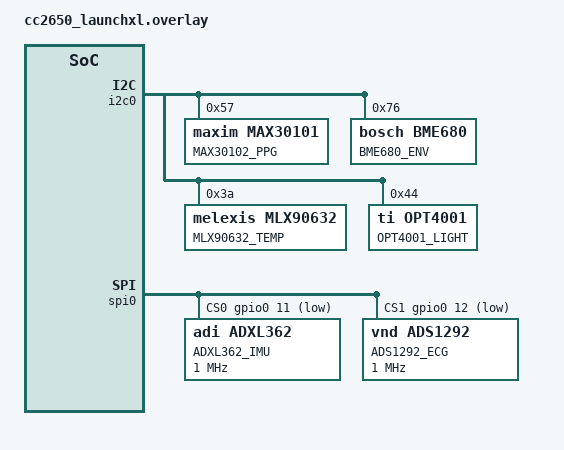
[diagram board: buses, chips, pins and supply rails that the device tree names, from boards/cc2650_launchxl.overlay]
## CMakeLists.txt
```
cmake_minimum_required(VERSION 3.20.0)

# Include Zephyr
find_package(Zephyr REQUIRED HINTS $ENV{ZEPHYR_BASE})
project(biomedical_sensor_node)

# Add source files
target_sources(app PRIVATE 
    src/main.c
    src/sensor_service.c
    src/processing.c
    src/state_machine.c
    src/telemetry.c
    src/watchdog.c
)

# Include directories
target_include_directories(app PRIVATE include)
```

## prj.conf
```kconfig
# System and Kernel
CONFIG_MULTITHREADING=y
CONFIG_FPU=y

# Console and Logging
CONFIG_CONSOLE=y
CONFIG_UART_CONSOLE=y
CONFIG_LOG=y
CONFIG_LOG_BACKEND_UART=y
CONFIG_UART_INTERRUPT_DRIVEN=y
CONFIG_LOG_MODE_DEFERRED=y
CONFIG_LOG_BUFFER_SIZE=2048
CONFIG_LOG_DEFAULT_LEVEL=3

# Standard Library and Randomness
CONFIG_NEWLIB_LIBC=y
CONFIG_ENTROPY_GENERATOR=y
CONFIG_TEST_RANDOM_GENERATOR=y

# Sensor Subsystem
CONFIG_SENSOR=y
CONFIG_I2C=y
CONFIG_SPI=y

# Specific Sensor Drivers
CONFIG_MAX30101=y
CONFIG_ADXL362=y
# ADS1292 driver usually requires custom implementation, but we enable SPI for it
# BME680 and VCNL4040 would go here if active

# CBPRINTF (Floating point printf for sensor readings)
CONFIG_CBPRINTF_FP_SUPPORT=y

# Message Queue configs (if needed for tuning)
CONFIG_HEAP_MEM_POOL_SIZE=4096
CONFIG_MAIN_STACK_SIZE=4096
```

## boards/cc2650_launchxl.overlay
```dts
/* TI CC2650 LaunchPad Devicetree Overlay */

&i2c0 {
    status = "okay";
    
    max30102: max30102@57 {
        compatible = "maxim,max30101";
        reg = <0x57>;
        label = "MAX30102_PPG";
        acq-mode = "spo2";
    };

    /* Additional BME Shield Sensors (Node Stubs) */
    bme680: bme680@76 {
        compatible = "bosch,bme680";
        reg = <0x76>;
        label = "BME680_ENV";
    };

    mlx90632: mlx90632@3a {
        compatible = "melexis,mlx90632";
        reg = <0x3a>;
        label = "MLX90632_TEMP";
    };

    opt4001: opt4001@44 {
        compatible = "ti,opt4001";
        reg = <0x44>;
        label = "OPT4001_LIGHT";
    };
};

&spi0 {
    status = "okay";
    cs-gpios = <&gpio0 11 GPIO_ACTIVE_LOW>, <&gpio0 12 GPIO_ACTIVE_LOW>;

    adxl362: adxl362@0 {
        compatible = "adi,adxl362";
        reg = <0>;
        spi-max-frequency = <1000000>;
        label = "ADXL362_IMU";
    };

    ads1292: ads1292@1 {
        compatible = "vnd,ads1292"; /* Generic vendor compatible */
        reg = <1>;
        spi-max-frequency = <1000000>;
        label = "ADS1292_ECG";
    };
};
```

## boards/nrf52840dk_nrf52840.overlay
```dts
/* Nordic nRF52840 Devicetree Overlay */

&i2c0 {
    status = "okay";
    clock-frequency = <I2C_BITRATE_FAST>;

    max30102: max30102@57 {
        status = "disabled";
        compatible = "maxim,max30101";
        reg = <0x57>;
        label = "MAX30102_PPG";
        acq-mode = "spo2";
    };

    /* Additional BME Shield Sensors (Node Stubs) */
    bme680: bme680@76 {
        status = "disabled";
        compatible = "bosch,bme680";
        reg = <0x76>;
        label = "BME680_ENV";
    };

    mlx90632: mlx90632@3a {
        status = "disabled";
        compatible = "melexis,mlx90632";
        reg = <0x3a>;
        label = "MLX90632_TEMP";
    };

    opt4001: opt4001@44 {
        status = "disabled";
        compatible = "ti,opt4001"; /* Requires custom driver or generic I2C access if not in Zephyr */
        reg = <0x44>;
        label = "OPT4001_LIGHT";
    };
};

&spi1 {
    status = "okay";
    cs-gpios = <&gpio0 17 GPIO_ACTIVE_LOW>, <&gpio0 18 GPIO_ACTIVE_LOW>;

    adxl362: adxl362@0 {
        status = "disabled";
        compatible = "adi,adxl362";
        reg = <0>;
        spi-max-frequency = <1000000>;
        label = "ADXL362_IMU";
    };

    ads1292: ads1292@1 {
        status = "disabled";
        compatible = "vnd,ads1292"; /* Generic vendor compatible for emulation */
        reg = <1>;
        spi-max-frequency = <1000000>;
        label = "ADS1292_ECG";
    };
};

&uart1 {
    status = "okay";
    current-speed = <115200>;
};
```

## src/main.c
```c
#include <zephyr/kernel.h>
#include <zephyr/logging/log.h>
#include "state_machine.h"
#include "sensor_service.h"
#include "processing.h"
#include "telemetry.h"
#include "watchdog.h"

LOG_MODULE_REGISTER(main, LOG_LEVEL_INF);

/* Thread stack sizes and priorities */
#define SENSOR_STACK_SIZE 1024
#define PROCESSING_STACK_SIZE 1024
#define STATE_MACHINE_STACK_SIZE 1024
#define TELEMETRY_STACK_SIZE 1024
#define WATCHDOG_STACK_SIZE 512

#define SENSOR_PRIORITY 7
#define PROCESSING_PRIORITY 5
#define STATE_MACHINE_PRIORITY 3
#define TELEMETRY_PRIORITY 9
#define WATCHDOG_PRIORITY 1

/* Thread definitions */
K_THREAD_DEFINE(sensor_tid, SENSOR_STACK_SIZE,
                sensor_thread_entry, NULL, NULL, NULL,
                SENSOR_PRIORITY, 0, 0);

K_THREAD_DEFINE(processing_tid, PROCESSING_STACK_SIZE,
                processing_thread_entry, NULL, NULL, NULL,
                PROCESSING_PRIORITY, 0, 0);

K_THREAD_DEFINE(fsm_tid, STATE_MACHINE_STACK_SIZE,
                state_machine_thread_entry, NULL, NULL, NULL,
                STATE_MACHINE_PRIORITY, 0, 0);

K_THREAD_DEFINE(telemetry_tid, TELEMETRY_STACK_SIZE,
                telemetry_thread_entry, NULL, NULL, NULL,
                TELEMETRY_PRIORITY, 0, 0);

K_THREAD_DEFINE(watchdog_tid, WATCHDOG_STACK_SIZE,
                watchdog_thread_entry, NULL, NULL, NULL,
                WATCHDOG_PRIORITY, 0, 0);

int main(void)
{
    LOG_INF("Starting Virtual Biomedical Sensor-Node...");
    LOG_INF("Board: %s", CONFIG_BOARD);
    
    return 0;
}
```

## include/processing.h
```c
#ifndef PROCESSING_H
#define PROCESSING_H

#include <stdint.h>
#include <stdbool.h>

typedef enum {
    EVENT_NONE,
    EVENT_NORMAL,
    EVENT_TACHYCARDIA_WARNING,
    EVENT_TACHYCARDIA_ALARM,
    EVENT_EXERCISE_DETECTED,
    EVENT_SENSOR_DISCONNECT
} fusion_event_t;

void processing_thread_entry(void *p1, void *p2, void *p3);

#endif
```

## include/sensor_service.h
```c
#ifndef SENSOR_SERVICE_H
#define SENSOR_SERVICE_H

#include <stdint.h>
#include <zephyr/kernel.h>

typedef struct {
    uint32_t timestamp;
    int32_t ppg_red;
    int32_t ppg_ir;
    int16_t accel_x;
    int16_t accel_y;
    int16_t accel_z;
    int32_t temp_c;
    int32_t humidity;
    int32_t pressure;
    int32_t light_lux;
    bool is_valid;
} sensor_sample_t;

/* Global access to latest sample for telemetry */
extern sensor_sample_t latest_sample;

/* Message queue for passing sensor samples to processing thread */
extern struct k_msgq sensor_msgq;

void sensor_thread_entry(void *p1, void *p2, void *p3);

#endif
```

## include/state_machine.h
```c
#ifndef STATE_MACHINE_H
#define STATE_MACHINE_H

#include <zephyr/kernel.h>

typedef enum {
    STATE_INIT,
    STATE_NORMAL,
    STATE_WARNING,
    STATE_ALARM,
    STATE_SENSOR_FAULT,
    STATE_RECOVERY
} system_state_t;

extern struct k_msgq event_msgq;
system_state_t get_current_system_state(void);
const char* state_to_string(system_state_t state);

void state_machine_thread_entry(void *p1, void *p2, void *p3);

#endif
```

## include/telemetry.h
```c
#ifndef TELEMETRY_H
#define TELEMETRY_H

void telemetry_thread_entry(void *p1, void *p2, void *p3);

#endif
```

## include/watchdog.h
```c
#ifndef WATCHDOG_H
#define WATCHDOG_H

void watchdog_feed_sensor(void);
void watchdog_thread_entry(void *p1, void *p2, void *p3);

#endif
```

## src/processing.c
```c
#include <zephyr/kernel.h>
#include <zephyr/logging/log.h>
#include <stdlib.h>
#include <math.h>
#include "processing.h"
#include "sensor_service.h"
#include "state_machine.h"

LOG_MODULE_REGISTER(processing, LOG_LEVEL_INF);

/* External event queue defined in state_machine.c */
extern struct k_msgq event_msgq;

/* Sensor Fusion thresholds */
#define HR_WARNING_THRESHOLD  120 // BPM
#define HR_ALARM_THRESHOLD    150 // BPM
#define MOTION_EXERCISE_LIMIT 250 // g-force magnitude scaled

void processing_thread_entry(void *p1, void *p2, void *p3)
{
    sensor_sample_t sample;
    fusion_event_t event;

    LOG_INF("Processing & Sensor Fusion thread started.");

    while (1) {
        if (k_msgq_get(&sensor_msgq, &sample, K_FOREVER) == 0) {
            if (!sample.is_valid) {
                event = EVENT_SENSOR_DISCONNECT;
            } else {
                /* Calculate magnitude of 3-axis motion acceleration */
                int32_t motion_mag = (int32_t)sqrt((double)(sample.accel_x * sample.accel_x +
                                                    sample.accel_y * sample.accel_y +
                                                    sample.accel_z * sample.accel_z));

                /* Simulate Heart Rate estimation from PPG Red channel (for demo windowing) */
                int32_t estimated_hr = sample.ppg_red / 100; // Scaled mock HR

                /* Sensor Fusion Decision Matrix */
                if (estimated_hr >= HR_ALARM_THRESHOLD) {
                    if (motion_mag > MOTION_EXERCISE_LIMIT) {
                        /* High HR + High Motion = Patient is exercising (Normal context) */
                        event = EVENT_EXERCISE_DETECTED;
                    } else {
                        /* High HR + Low Motion = Medical anomaly (Tachycardia Alarm) */
                        event = EVENT_TACHYCARDIA_ALARM;
                    }
                } else if (estimated_hr >= HR_WARNING_THRESHOLD) {
                    event = EVENT_TACHYCARDIA_WARNING;
                } else {
                    event = EVENT_NORMAL;
                }
            }

            /* Push fusion event to State Machine queue */
            k_msgq_put(&event_msgq, &event, K_NO_WAIT);
        }
    }
}
```

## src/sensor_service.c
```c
#include <zephyr/kernel.h>
#include <zephyr/logging/log.h>
#include <zephyr/drivers/sensor.h>
#include "sensor_service.h"
#include "watchdog.h"

LOG_MODULE_REGISTER(sensor_svc, LOG_LEVEL_INF);

/* Define message queue: capacity of 10 samples */
K_MSGQ_DEFINE(sensor_msgq, sizeof(sensor_sample_t), 10, 4);

/* Global copy for telemetry */
sensor_sample_t latest_sample;

#include <zephyr/random/random.h>
#include <zephyr/drivers/uart.h>
#include <stdlib.h>
#include <string.h>

/* Global variables that can be modified by the UART Input Simulator */
static int32_t sim_bpm = 70;
static int32_t sim_temp_c = 365;
static int32_t sim_humidity = 45;
static int32_t sim_pressure = 1013;
static int32_t sim_light_lux = 300;
static int32_t sim_accel_z = 981;

#define RX_BUF_SIZE 128
static char rx_buf[RX_BUF_SIZE];
static int rx_buf_pos = 0;

static void uart_cb(const struct device *dev, void *user_data)
{
    uart_irq_update(dev);
    
    if (uart_irq_rx_ready(dev)) {
        uint8_t c;
        while (uart_fifo_read(dev, &c, 1) == 1) {
            if (c == '\n' || c == '\r') {
                rx_buf[rx_buf_pos] = '\0';
                if (rx_buf_pos > 0) {
                    if (strncmp(rx_buf, "BPM:", 4) == 0) {
                        sim_bpm = atoi(rx_buf + 4);
                    } else if (strncmp(rx_buf, "TEMP:", 5) == 0) {
                        sim_temp_c = atoi(rx_buf + 5);
                    } else if (strncmp(rx_buf, "HUM:", 4) == 0) {
                        sim_humidity = atoi(rx_buf + 4);
                    } else if (strncmp(rx_buf, "PRES:", 5) == 0) {
                        sim_pressure = atoi(rx_buf + 5);
                    } else if (strncmp(rx_buf, "LGT:", 4) == 0) {
                        sim_light_lux = atoi(rx_buf + 4);
                    } else if (strncmp(rx_buf, "ACCZ:", 5) == 0) {
                        sim_accel_z = atoi(rx_buf + 5);
                    }
                }
                rx_buf_pos = 0;
            } else if (rx_buf_pos < RX_BUF_SIZE - 1) {
                rx_buf[rx_buf_pos++] = (char)c;
            }
        }
    }
}

void sensor_thread_entry(void *p1, void *p2, void *p3)
{
    LOG_INF("Starting mocked sensor sampling with Input Simulator support...");

    const struct device *uart1_dev = DEVICE_DT_GET(DT_NODELABEL(uart1));
    if (device_is_ready(uart1_dev)) {
        uart_irq_callback_set(uart1_dev, uart_cb);
        uart_irq_rx_enable(uart1_dev);
        LOG_INF("Input Simulator active on uart1");
    }

    sensor_sample_t sample;
    
    while (1) {
        sample.timestamp = k_uptime_get_32();
        sample.is_valid = true;

        /* Apply random jitter (noise) to the simulated base values to make it look realistic */
        int noise_bpm = (sys_rand32_get() % 5) - 2;
        int noise_temp = (sys_rand32_get() % 5) - 2;
        int noise_accel = (sys_rand32_get() % 5) - 2;
        int noise_light = (sys_rand32_get() % 11) - 5;
        
        sample.ppg_red = (sim_bpm + noise_bpm) * 100; 
        sample.accel_x = 10;
        sample.accel_y = 10;
        sample.accel_z = sim_accel_z + noise_accel;
        
        sample.temp_c = sim_temp_c + noise_temp;
        sample.humidity = sim_humidity;
        sample.pressure = sim_pressure;
        sample.light_lux = sim_light_lux + noise_light;

        latest_sample = sample;

        /* Feed the watchdog timer */
        watchdog_feed_sensor();

        /* Push sample to processing message queue */
        while (k_msgq_put(&sensor_msgq, &sample, K_NO_WAIT) != 0) {
            k_msgq_purge(&sensor_msgq);
        }

        k_msleep(100); // 100ms sampling rate (10Hz)
    }
}
```

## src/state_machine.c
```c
#include <zephyr/kernel.h>
#include <zephyr/logging/log.h>
#include "state_machine.h"
#include "processing.h"

LOG_MODULE_REGISTER(fsm, LOG_LEVEL_INF);

/* Message queue for incoming fusion events */
K_MSGQ_DEFINE(event_msgq, sizeof(fusion_event_t), 10, 4);

static system_state_t current_state = STATE_INIT;
static int recovery_counter = 0;
#define RECOVERY_HYSTERESIS_TICKS 5 // Must remain stable for 5 ticks before returning to NORMAL

system_state_t get_current_system_state(void)
{
    return current_state;
}

const char* state_to_string(system_state_t state)
{
    switch (state) {
        case STATE_INIT:          return "INIT";
        case STATE_NORMAL:        return "NORMAL";
        case STATE_WARNING:       return "WARNING";
        case STATE_ALARM:         return "ALARM";
        case STATE_SENSOR_FAULT:  return "SENSOR_FAULT";
        case STATE_RECOVERY:       return "RECOVERY";
        default:                  return "UNKNOWN";
    }
}

void state_machine_thread_entry(void *p1, void *p2, void *p3)
{
    fusion_event_t event;

    LOG_INF("State Machine FSM Thread Started.");
    current_state = STATE_NORMAL;
    LOG_INF("[FSM State Change] -> NORMAL");

    while (1) {
        if (k_msgq_get(&event_msgq, &event, K_FOREVER) == 0) {
            system_state_t next_state = current_state;

            switch (current_state) {
                case STATE_NORMAL:
                    if (event == EVENT_SENSOR_DISCONNECT) {
                        next_state = STATE_SENSOR_FAULT;
                    } else if (event == EVENT_TACHYCARDIA_ALARM) {
                        next_state = STATE_ALARM;
                    } else if (event == EVENT_TACHYCARDIA_WARNING) {
                        next_state = STATE_WARNING;
                    }
                    break;

                case STATE_WARNING:
                    if (event == EVENT_TACHYCARDIA_ALARM) {
                        next_state = STATE_ALARM;
                    } else if (event == EVENT_NORMAL || event == EVENT_EXERCISE_DETECTED) {
                        next_state = STATE_NORMAL;
                    } else if (event == EVENT_SENSOR_DISCONNECT) {
                        next_state = STATE_SENSOR_FAULT;
                    }
                    break;

                case STATE_ALARM:
                    if (event == EVENT_SENSOR_DISCONNECT) {
                        next_state = STATE_SENSOR_FAULT;
                    } else if (event == EVENT_NORMAL || event == EVENT_EXERCISE_DETECTED) {
                        next_state = STATE_RECOVERY;
                        recovery_counter = 0;
                    }
                    break;

                case STATE_SENSOR_FAULT:
                    if (event != EVENT_SENSOR_DISCONNECT) {
                        next_state = STATE_RECOVERY;
                        recovery_counter = 0;
                    }
                    break;

                case STATE_RECOVERY:
                    if (event == EVENT_SENSOR_DISCONNECT) {
                        next_state = STATE_SENSOR_FAULT;
                    } else if (event == EVENT_TACHYCARDIA_ALARM) {
                        next_state = STATE_ALARM;
                    } else if (event == EVENT_NORMAL || event == EVENT_EXERCISE_DETECTED) {
                        recovery_counter++;
                        if (recovery_counter >= RECOVERY_HYSTERESIS_TICKS) {
                            next_state = STATE_NORMAL;
                        }
                    }
                    break;

                default:
                    next_state = STATE_NORMAL;
                    break;
            }

            if (next_state != current_state) {
                LOG_WRN("[FSM State Change] %s -> %s", state_to_string(current_state), state_to_string(next_state));
                current_state = next_state;
            }
        }
    }
}
```

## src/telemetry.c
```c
#include <zephyr/kernel.h>
#include <zephyr/logging/log.h>
#include "telemetry.h"
#include "state_machine.h"
#include "sensor_service.h"

LOG_MODULE_REGISTER(telemetry, LOG_LEVEL_INF);

void telemetry_thread_entry(void *p1, void *p2, void *p3)
{
    LOG_INF("Telemetry Thread Started.");

    while (1) {
        system_state_t state = get_current_system_state();
        
        /* Structured UART Log Output for Renode / Robot Framework Assertions */
        LOG_INF("[TELEMETRY] {\"status\":\"%s\", \"uptime_ms\":%lld, \"bpm\":%d, \"temp_c\":%d, \"humidity\":%d, \"pressure\":%d, \"light\":%d, \"accel_mag\":%d}",
                state_to_string(state),
                k_uptime_get(),
                latest_sample.ppg_red / 100,
                latest_sample.temp_c,
                latest_sample.humidity,
                latest_sample.pressure,
                latest_sample.light_lux,
                latest_sample.accel_z); // Mocking mag with Z for now

        k_msleep(1000); // 1-second telemetry interval
    }
}
```

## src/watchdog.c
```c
#include <zephyr/kernel.h>
#include <zephyr/logging/log.h>
#include "watchdog.h"

LOG_MODULE_REGISTER(watchdog, LOG_LEVEL_INF);

static atomic_t sensor_heartbeat = ATOMIC_INIT(0);

void watchdog_feed_sensor(void)
{
    atomic_set(&sensor_heartbeat, 1);
}

void watchdog_thread_entry(void *p1, void *p2, void *p3)
{
    LOG_INF("Watchdog & Health Monitoring Thread Started.");

    while (1) {
        k_msleep(3000); // Check every 3 seconds

        if (atomic_cas(&sensor_heartbeat, 1, 0) == false) {
            LOG_ERR("[WATCHDOG FAULT] Sensor acquisition thread missed heartbeat!");
        } else {
            // Heartbeat OK
        }
    }
}
```
